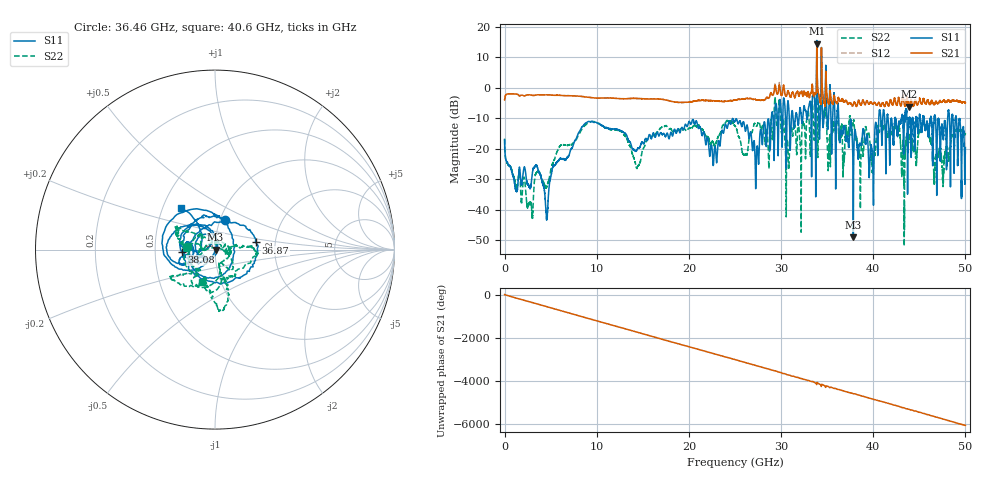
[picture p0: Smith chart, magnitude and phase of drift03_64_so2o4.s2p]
!Created with skrf (http://scikit-rf.org).
# Hz S RI R 50.0
!freq ReS11 ImS11 ReS21 ImS21 ReS12 ImS12 ReS22 ImS22
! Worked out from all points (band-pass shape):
!   10001 points, 300 kHz to 50 GHz, reference 50 ohm
!   highest |S21| = 14.46 dB at 33.88 GHz (marker M1); lowest = -6.2 dB at 43.9 GHz (marker M2)
!   |S21| within 3 dB of the highest: 33.86918 GHz to 33.88808 GHz (18.9 MHz wide, 0.0558 % of centre); 34.37694 GHz to 34.38835 GHz (11.41 MHz wide, 0.0332 % of centre)
!   lowest |S11| = -49.0 dB at 37.84 GHz (marker M3), VSWR 1.01, Z = 50.3 - j0.0771 ohm
!   |S11| at or under -10 dB: start of sweep to 28.94 GHz; 36.26 GHz to 40.6 GHz (4.337 GHz wide, 11.3 % of centre); 46.75 GHz to 48.07 GHz (1.324 GHz wide, 2.79 % of centre) (the widest 3 of 59)
!   |S22| runs from -51.9 to 11.4 dB; largest |S21 - S12| = 0.82
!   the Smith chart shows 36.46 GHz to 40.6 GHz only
!   S11 on the Smith chart (normalised r, x): 36.46 GHz: 1.05, +0.36; 36.87 GHz: 1.58, +0.13; 38.08 GHz: 0.69, -0.02; 40.6 GHz: 0.62, +0.32
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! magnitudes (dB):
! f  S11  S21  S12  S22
! 300 kHz  -17.0  -4.0  -4.0  -16.7
! 2.82 GHz  -32.8  -2.4  -2.4  -38.0
! 4.56 GHz  -43.4  -2.3  -2.3  -32.4
! 8.335 GHz  -13.1  -2.8  -2.8  -13.9
! 14.45 GHz  -19.9  -3.5  -3.5  -25.9
! 16.67 GHz  -15.4  -3.7  -3.7  -14.3
! 22.82 GHz  -19.2  -4.3  -4.3  -19.2
! 25 GHz  -10.9  -4.0  -4.0  -12.5
! 27.39 GHz  -19.4  -4.1  -4.1  -12.5
! 29.6 GHz  -10.5  -2.0  -2.1  -11.7
! 30.7 GHz  -5.7  -1.4  -1.5  -17.3
! 33.34 GHz  -13.7  -0.3  -0.4  -6.9
! 33.88 GHz  15.5  14.5  14.0  11.4
! 36.46 GHz  -15.1  -4.4  -4.4  -16.1
! 36.87 GHz  -12.7  -4.7  -4.6  -21.4
! 37.84 GHz  -49.0  -5.5  -5.5  -11.1
! 38.08 GHz  -14.6  -5.6  -5.5  -16.8
! 39.81 GHz  -19.3  -4.9  -4.8  -23.8
! 40.6 GHz  -10.4  -4.9  -4.9  -14.2
! 41.67 GHz  -12.1  -6.0  -5.9  -15.0
! 43.9 GHz  -9.7  -6.2  -6.2  -16.8
! 50 GHz  -19.6  -4.9  -4.9  -15.1
